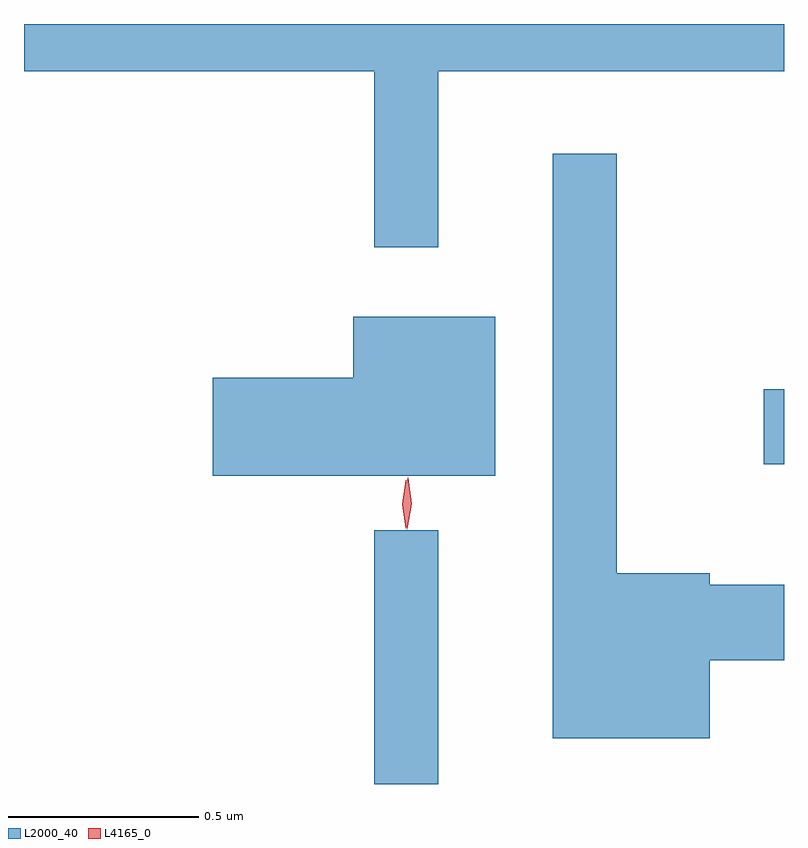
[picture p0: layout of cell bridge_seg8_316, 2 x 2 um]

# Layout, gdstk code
import gdstk
lib = gdstk.Library(unit=1e-6, precision=1e-09)
def R(c, l, rs):  # rectangles x0, y0, x1, y1
    for r in rs: c.add(gdstk.rectangle(r[:2], r[2:], *l))
def P(c, l, *ps):  # polygons
    for p in ps: c.add(gdstk.Polygon(p, *l))
L2000_40 = (2000, 40)
L4165_0 = (4165, 0)

bridge_seg8_316 = lib.new_cell('bridge_seg8_316')
R(bridge_seg8_316, L2000_40, [(1006.781,1910.02,1006.949,1910.688), (1007.806,1910.861,1007.859,1911.059)])
P(bridge_seg8_316, L2000_40, [(1006.949,1911.896),(1007.859,1911.896),(1007.859,1912.02),(1005.859,1912.02),(1005.859,1911.896),(1006.781,1911.896),(1006.781,1911.433),(1006.949,1911.433)],
  [(1007.664,1910.346),(1007.859,1910.346),(1007.859,1910.544),(1007.664,1910.544),(1007.664,1910.574),(1007.419,1910.574),(1007.419,1911.678),(1007.251,1911.678),(1007.251,1910.141),(1007.664,1910.141)],
  [(1007.099,1911.249),(1006.726,1911.249),(1006.726,1911.089),(1006.356,1911.089),(1006.356,1910.831),(1007.099,1910.831)])
P(bridge_seg8_316, L4165_0, [(1006.868,1910.69),(1006.868,1910.69),(1006.859,1910.758),(1006.869,1910.826),(1006.869,1910.826),(1006.87,1910.826),(1006.879,1910.758),(1006.868,1910.69)],
  [(1006.864,1910.693),(1006.855,1910.756),(1006.864,1910.819),(1006.865,1910.82),(1006.865,1910.819),(1006.875,1910.756),(1006.865,1910.693),(1006.865,1910.693)])

lib.write_gds('bridge_seg8_316.gds')
